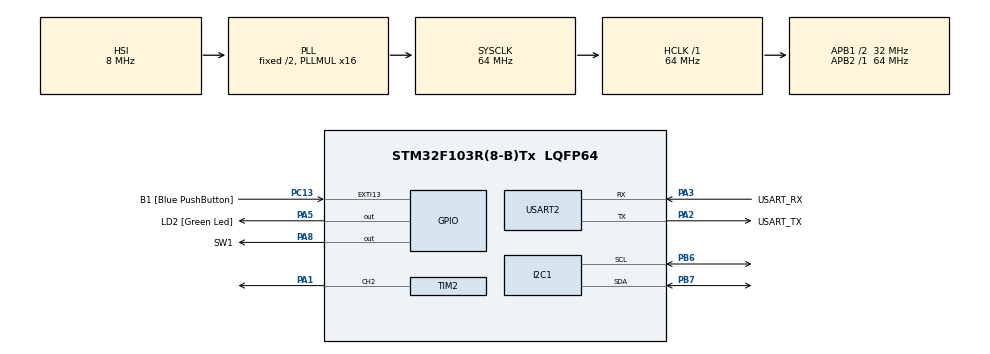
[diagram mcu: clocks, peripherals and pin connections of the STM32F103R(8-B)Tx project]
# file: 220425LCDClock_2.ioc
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Mcu.Family=STM32F1
Mcu.Name=STM32F103R(8-B)Tx
Mcu.Package=LQFP64
NVIC.EXTI15_10_IRQn=true\:0\:0\:false\:false\:true\:true\:true\:true
NVIC.PriorityGroup=NVIC_PRIORITYGROUP_4
PA1.Signal=S_TIM2_CH2
PA13.GPIO_Label=TMS
PA13.Mode=Serial_Wire
PA13.Signal=SYS_JTMS-SWDIO
PA14.GPIO_Label=TCK
PA14.Mode=Serial_Wire
PA14.Signal=SYS_JTCK-SWCLK
PA2.GPIO_Label=USART_TX
PA2.GPIO_Mode=GPIO_MODE_AF_PP
PA2.GPIO_PuPd=GPIO_NOPULL
PA2.GPIO_Speed=GPIO_SPEED_FREQ_LOW
PA2.Mode=Asynchronous
PA2.Signal=USART2_TX
PA3.GPIO_Label=USART_RX
PA3.GPIO_Mode=GPIO_MODE_AF_PP
PA3.GPIO_PuPd=GPIO_NOPULL
PA3.GPIO_Speed=GPIO_SPEED_FREQ_LOW
PA3.Mode=Asynchronous
PA3.Signal=USART2_RX
PA5.GPIO_Label=LD2 [Green Led]
PA5.GPIO_ModeDefaultOutputPP=GPIO_MODE_OUTPUT_PP
PA5.GPIO_PuPd=GPIO_NOPULL
PA5.GPIO_Speed=GPIO_SPEED_FREQ_LOW
PA5.Signal=GPIO_Output
PA8.GPIO_Label=SW1
PA8.Signal=GPIO_Output
PB3.GPIO_Label=SWO
PB3.Signal=SYS_JTDO-TRACESWO
PB6.Mode=I2C
PB6.Signal=I2C1_SCL
PB7.Mode=I2C
PB7.Signal=I2C1_SDA
PC13-TAMPER-RTC.GPIO_Label=B1 [Blue PushButton]
PC13-TAMPER-RTC.GPIO_PuPd=GPIO_NOPULL
PC13-TAMPER-RTC.Signal=GPXTI13
PC14-OSC32_IN.Mode=LSE-External-Oscillator
PC14-OSC32_IN.Signal=RCC_OSC32_IN
PC15-OSC32_OUT.Mode=LSE-External-Oscillator
PC15-OSC32_OUT.Signal=RCC_OSC32_OUT
PD0-OSC_IN.Mode=HSE-External-Clock-Source
PD0-OSC_IN.Signal=RCC_OSC_IN
PD1-OSC_OUT.Mode=HSE-External-Clock-Source
PD1-OSC_OUT.Signal=RCC_OSC_OUT
ProjectManager.HeapSize=0x200
ProjectManager.StackSize=0x400
ProjectManager.TargetToolchain=STM32CubeIDE
RCC.AHBFreq_Value=64000000
RCC.APB1CLKDivider=RCC_HCLK_DIV2
RCC.APB1Freq_Value=32000000
RCC.APB1TimFreq_Value=64000000
RCC.APB2Freq_Value=64000000
RCC.APB2TimFreq_Value=64000000
RCC.HCLKFreq_Value=64000000
RCC.PLLMUL=RCC_PLL_MUL16
RCC.RTCClockSelection=RCC_RTCCLKSOURCE_LSE
RCC.SYSCLKFreq_VALUE=64000000
RCC.SYSCLKSource=RCC_SYSCLKSOURCE_PLLCLK
RCC.USBFreq_Value=64000000
SH.S_TIM2_CH2.0=TIM2_CH2,PWM Generation2 CH2
TIM2.Channel-Output\ Compare1\ No\ Output=TIM_CHANNEL_1
TIM2.Channel-PWM\ Generation2\ CH2=TIM_CHANNEL_2
TIM2.Period=10000-1
TIM2.Prescaler=6400-1
TIM2.Pulse-Output\ Compare1\ No\ Output=5000-1
TIM2.Pulse-PWM\ Generation2\ CH2=5000-1
USART2.VirtualMode=VM_ASYNC
VP_TIM2_VS_ClockSourceINT.Mode=Internal
VP_TIM2_VS_no_output1.Mode=Output Compare1 No Output
board=NUCLEO-F103RB

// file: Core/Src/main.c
/* USER CODE BEGIN Header */
/**
  ******************************************************************************
  * @file           : main.c
  * @brief          : Main program body
  ******************************************************************************
  * @attention
  *
  * Copyright (c) 2022 STMicroelectronics.
  * All rights reserved.
  *
  * This software is licensed under terms that can be found in the LICENSE file
  * in the root directory of this software component.
  * If no LICENSE file comes with this software, it is provided AS-IS.
  *
  ******************************************************************************
  */
/* USER CODE END Header */
#include "main.h"

/* USER CODE BEGIN Includes */
#include "i2c-lcd.h"
/* USER CODE END Includes */

 I2C_HandleTypeDef hi2c1;

TIM_HandleTypeDef htim2;

UART_HandleTypeDef huart2;

void SystemClock_Config(void);
static void MX_GPIO_Init(void);
static void MX_USART2_UART_Init(void);
static void MX_I2C1_Init(void);
static void MX_TIM2_Init(void);
/* USER CODE BEGIN PFP */
int hour = 0;
int min = 0;
int sec = 0;
char HOUR[10];
char MIN[10];
char SEC[10];
/* USER CODE END PFP */

int main(void)
{

  /* MCU Configuration--------------------------------------------------------*/

  /* Reset of all peripherals, Initializes the Flash interface and the Systick. */
  HAL_Init();

  /* Configure the system clock */
  SystemClock_Config();

  /* Initialize all configured peripherals */
  MX_GPIO_Init();
  MX_USART2_UART_Init();
  MX_I2C1_Init();
  MX_TIM2_Init();
  /* USER CODE BEGIN 2 */
  HAL_TIM_Base_Start_IT(&htim2);
  HAL_TIM_OC_Start_IT(&htim2, TIM_CHANNEL_1);
  lcd_init();
  /* USER CODE END 2 */

  /* Infinite loop */
  while (1)
  {

  }
}

void SystemClock_Config(void)
{
  RCC_OscInitTypeDef RCC_OscInitStruct = {0};
  RCC_ClkInitTypeDef RCC_ClkInitStruct = {0};

  /** Initializes the RCC Oscillators according to the specified parameters
  * in the RCC_OscInitTypeDef structure.
  */
  RCC_OscInitStruct.OscillatorType = RCC_OSCILLATORTYPE_HSI;
  RCC_OscInitStruct.HSIState = RCC_HSI_ON;
  RCC_OscInitStruct.HSICalibrationValue = RCC_HSICALIBRATION_DEFAULT;
  RCC_OscInitStruct.PLL.PLLState = RCC_PLL_ON;
  RCC_OscInitStruct.PLL.PLLSource = RCC_PLLSOURCE_HSI_DIV2;
  RCC_OscInitStruct.PLL.PLLMUL = RCC_PLL_MUL16;
  if (HAL_RCC_OscConfig(&RCC_OscInitStruct) != HAL_OK)
  {
    Error_Handler();
  }

  /** Initializes the CPU, AHB and APB buses clocks
  */
  RCC_ClkInitStruct.ClockType = RCC_CLOCKTYPE_HCLK|RCC_CLOCKTYPE_SYSCLK
                              |RCC_CLOCKTYPE_PCLK1|RCC_CLOCKTYPE_PCLK2;
  RCC_ClkInitStruct.SYSCLKSource = RCC_SYSCLKSOURCE_PLLCLK;
  RCC_ClkInitStruct.AHBCLKDivider = RCC_SYSCLK_DIV1;
  RCC_ClkInitStruct.APB1CLKDivider = RCC_HCLK_DIV2;
  RCC_ClkInitStruct.APB2CLKDivider = RCC_HCLK_DIV1;

  if (HAL_RCC_ClockConfig(&RCC_ClkInitStruct, FLASH_LATENCY_2) != HAL_OK)
  {
    Error_Handler();
  }
}

static void MX_I2C1_Init(void)
{

  hi2c1.Instance = I2C1;
  hi2c1.Init.ClockSpeed = 100000;
  hi2c1.Init.DutyCycle = I2C_DUTYCYCLE_2;
  hi2c1.Init.OwnAddress1 = 0;
  hi2c1.Init.AddressingMode = I2C_ADDRESSINGMODE_7BIT;
  hi2c1.Init.DualAddressMode = I2C_DUALADDRESS_DISABLE;
  hi2c1.Init.OwnAddress2 = 0;
  hi2c1.Init.GeneralCallMode = I2C_GENERALCALL_DISABLE;
  hi2c1.Init.NoStretchMode = I2C_NOSTRETCH_DISABLE;
  if (HAL_I2C_Init(&hi2c1) != HAL_OK)
  {
    Error_Handler();
  }

}

static void MX_TIM2_Init(void)
{

  TIM_ClockConfigTypeDef sClockSourceConfig = {0};
  TIM_MasterConfigTypeDef sMasterConfig = {0};
  TIM_OC_InitTypeDef sConfigOC = {0};

  htim2.Instance = TIM2;
  htim2.Init.Prescaler = 6400-1;
  htim2.Init.CounterMode = TIM_COUNTERMODE_UP;
  htim2.Init.Period = 10000-1;
  htim2.Init.ClockDivision = TIM_CLOCKDIVISION_DIV1;
  htim2.Init.AutoReloadPreload = TIM_AUTORELOAD_PRELOAD_DISABLE;
  if (HAL_TIM_Base_Init(&htim2) != HAL_OK)
  {
    Error_Handler();
  }
  sClockSourceConfig.ClockSource = TIM_CLOCKSOURCE_INTERNAL;
  if (HAL_TIM_ConfigClockSource(&htim2, &sClockSourceConfig) != HAL_OK)
  {
    Error_Handler();
  }
  if (HAL_TIM_OC_Init(&htim2) != HAL_OK)
  {
    Error_Handler();
  }
  if (HAL_TIM_PWM_Init(&htim2) != HAL_OK)
  {
    Error_Handler();
  }
  sMasterConfig.MasterOutputTrigger = TIM_TRGO_RESET;
  sMasterConfig.MasterSlaveMode = TIM_MASTERSLAVEMODE_DISABLE;
  if (HAL_TIMEx_MasterConfigSynchronization(&htim2, &sMasterConfig) != HAL_OK)
  {
    Error_Handler();
  }
  sConfigOC.OCMode = TIM_OCMODE_TIMING;
  sConfigOC.Pulse = 5000-1;
  sConfigOC.OCPolarity = TIM_OCPOLARITY_HIGH;
  sConfigOC.OCFastMode = TIM_OCFAST_DISABLE;
  if (HAL_TIM_OC_ConfigChannel(&htim2, &sConfigOC, TIM_CHANNEL_1) != HAL_OK)
  {
    Error_Handler();
  }
  sConfigOC.OCMode = TIM_OCMODE_PWM1;
  if (HAL_TIM_PWM_ConfigChannel(&htim2, &sConfigOC, TIM_CHANNEL_2) != HAL_OK)
  {
    Error_Handler();
  }
  HAL_TIM_MspPostInit(&htim2);

}

static void MX_USART2_UART_Init(void)
{

  huart2.Instance = USART2;
  huart2.Init.BaudRate = 115200;
  huart2.Init.WordLength = UART_WORDLENGTH_8B;
  huart2.Init.StopBits = UART_STOPBITS_1;
  huart2.Init.Parity = UART_PARITY_NONE;
  huart2.Init.Mode = UART_MODE_TX_RX;
  huart2.Init.HwFlowCtl = UART_HWCONTROL_NONE;
  huart2.Init.OverSampling = UART_OVERSAMPLING_16;
  if (HAL_UART_Init(&huart2) != HAL_OK)
  {
    Error_Handler();
  }

}

static void MX_GPIO_Init(void)
{
  GPIO_InitTypeDef GPIO_InitStruct = {0};

  /* GPIO Ports Clock Enable */
  __HAL_RCC_GPIOC_CLK_ENABLE();
  __HAL_RCC_GPIOD_CLK_ENABLE();
  __HAL_RCC_GPIOA_CLK_ENABLE();
  __HAL_RCC_GPIOB_CLK_ENABLE();

  /*Configure GPIO pin Output Level */
  HAL_GPIO_WritePin(GPIOA, LD2_Pin|SW1_Pin, GPIO_PIN_RESET);

  /*Configure GPIO pin : B1_Pin */
  GPIO_InitStruct.Pin = B1_Pin;
  GPIO_InitStruct.Mode = GPIO_MODE_IT_RISING;
  GPIO_InitStruct.Pull = GPIO_NOPULL;
  HAL_GPIO_Init(B1_GPIO_Port, &GPIO_InitStruct);

  /*Configure GPIO pins : LD2_Pin SW1_Pin */
  GPIO_InitStruct.Pin = LD2_Pin|SW1_Pin;
  GPIO_InitStruct.Mode = GPIO_MODE_OUTPUT_PP;
  GPIO_InitStruct.Pull = GPIO_NOPULL;
  GPIO_InitStruct.Speed = GPIO_SPEED_FREQ_LOW;
  HAL_GPIO_Init(GPIOA, &GPIO_InitStruct);

  /* EXTI interrupt init*/
  HAL_NVIC_SetPriority(EXTI15_10_IRQn, 0, 0);
  HAL_NVIC_EnableIRQ(EXTI15_10_IRQn);

}

/* USER CODE BEGIN 4 */
void HAL_TIM_PeriodElapsedCallback(TIM_HandleTypeDef *htim)
{
	sec++;
	if(sec > 59)
	{
		sec = 0;
		lcd_clear();
		min++;
		if(min > 59)
		{
			min = 0;
			lcd_clear();
			hour++;
		}
	}
	lcd_put_cur(0, 0);
	sprintf(HOUR, "hour:%d", hour);
	lcd_send_string(HOUR);
	lcd_put_cur(1, 0);
	sprintf(MIN, "min:%d", min);
	lcd_send_string(MIN);
	lcd_put_cur(1, 7);
	sprintf(SEC, "sec:%d", sec);
	lcd_send_string(SEC);

}

/* USER CODE END 4 */

void Error_Handler(void)
{
  __disable_irq();
  while (1)
  {
  }
}
